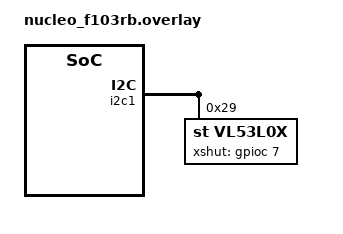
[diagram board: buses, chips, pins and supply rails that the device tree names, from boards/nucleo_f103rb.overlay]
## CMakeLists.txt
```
# SPDX-License-Identifier: Apache-2.0

cmake_minimum_required(VERSION 3.20.0)

find_package(Zephyr)

project(application-10dof)



# Alternatively, use a glob to include all C source files
# FILE(GLOB app_sources src/*.c)
# target_sources(app PRIVATE ${app_sources})
target_sources(app PRIVATE
	src/main.c
)

#zephyr_library_include_directories(.)
#zephyr_include_directories(src)

# add_subdirectory(drivers)

# target_include_directories(${PROJECT_NAME} PRIVATE drivers/IMU/mlx90393/src)
# target_link_directories(${PROJECT_NAME} PRIVATE drivers/IMU/mlx90393/src)
# target_link_libraries(${PROJECT_NAME} mlx90393)
```

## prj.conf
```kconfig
# general
CONFIG_STDOUT_CONSOLE=y

CONFIG_PRINTK=y
CONFIG_CBPRINTF_FP_SUPPORT=y

CONFIG_I2C=y
CONFIG_GPIO=y

# sensors
CONFIG_SENSOR=y
CONFIG_VL53L0X=y
CONFIG_VL53L0X_PROXIMITY_THRESHOLD=100
#CONFIG_MPU6050=y
#CONFIG_MPU6050_TRIGGER_NONE=y

# pwm
#CONFIG_PWM=y

#debug
#CONFIG_DEBUG=y
#CONFIG_LOG=y
#CONFIG_LOG_MODE_IMMEDIATE=y
#CONFIG_SENSOR_LOG_LEVEL_DBG=y
#CONFIG_PWM_LOG_LEVEL_DBG=y
```

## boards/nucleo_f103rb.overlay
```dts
/* SPDX-License-Identifier: Apache-2.0 */

/*/ {
	servo: servo {
		compatible = "pwm-servo";
		pwms = <&sw_pwm 0 PWM_MSEC(20) PWM_POLARITY_NORMAL>;
		min-pulse = <PWM_USEC(700)>;
		max-pulse = <PWM_USEC(2500)>;
	};
    
    pwmleds {
        compatible = "pwm-leds";
        green_pwm_led: green_pwm_led {
            pwms = <&pwm4 2 15625000 PWM_POLARITY_NORMAL>;
        };
    };

    aliases {
        pwmled0 = &green_pwm_led;
    };

};*/


&i2c1 {
	//pinctrl-0 = <&i2c1_scl_remap1_pb8 &i2c1_sda_remap1_pb9>;
	//pinctrl-names = "default";
	//status = "okay";
	//clock-frequency = <I2C_BITRATE_FAST>;
    /*mpu6050@68 {
		compatible = "invensense,mpu6050";
		reg = <0x68>;
		status = "okay";
		label = "MPU6050";
		int-gpios = <&gpiob 8 GPIO_ACTIVE_HIGH>;
	};*/
    

    // https://docs.zephyrproject.org/latest/build/dts/api/bindings/sensor/st%2Cvl53l0x.html#dtbinding-st-vl53l0x
    // https://www.st.com/resource/en/datasheet/vl53l0x.pdf

    // TBC: datasheet specifies 0x52 for the address 
    // TBC: datasheet XSHUT (shutdown pin) is active low
    
    vl53l0x@29 {
    //    vl53l0x0: vl53l0x@52 {
            compatible = "st,vl53l0x";
            reg = <0x29>;
            //reg = <0x52>;
            label = "VL53L0X";
            xshut-gpios = <&gpioc 7 GPIO_ACTIVE_HIGH>;
	};
};
```

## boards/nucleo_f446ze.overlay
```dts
/* SPDX-License-Identifier: Apache-2.0 */

&i2c1 {

    /*mpu6050@68 {
		compatible = "invensense,mpu6050";
		reg = <0x68>;
		status = "okay";
		label = "MPU6050";
		int-gpios = <&gpiob 8 GPIO_ACTIVE_HIGH>;
	};*/
    

    // https://docs.zephyrproject.org/latest/build/dts/api/bindings/sensor/st%2Cvl53l0x.html#dtbinding-st-vl53l0x
    // https://www.st.com/resource/en/datasheet/vl53l0x.pdf

    // TBC: datasheet specifies 0x52 for the address 
    // TBC: datasheet XSHUT (shutdown pin) is active low
    
    vl53l0x@29 {
      compatible = "st,vl53l0x";
      reg = <0x29>;
      label = "VL53L0X";
      xshut-gpios = <&gpioc 7 GPIO_ACTIVE_HIGH>;
    };
      
};
```

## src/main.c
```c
/*
 * SPDX-License-Identifier: Apache-2.0
 */

#include <zephyr/zephyr.h>
#include <zephyr/device.h>
#include <zephyr/drivers/gpio.h>
#include <zephyr/drivers/sensor.h>
#include <stdio.h>
#include <zephyr/sys/printk.h>

#define SLEEP_TIME_MS   200

/* The devicetree node identifier for the "led0" alias. */
#define LED0_NODE DT_ALIAS(led0)

/*
 * A build error on this line means your board is unsupported.
 * See the sample documentation for information on how to fix this.
 */
static const struct gpio_dt_spec led = GPIO_DT_SPEC_GET(LED0_NODE, gpios);

void main(void)
{
	// from sensors samples
	const struct device *dev = device_get_binding(DT_LABEL(DT_INST(0, st_vl53l0x)));
	struct sensor_value value;
	struct sensor_value prox;

	int ret;

	if (dev == NULL) {
		printk("Could not get VL53L0X device\n");
		return;
	}

	if (!device_is_ready(led.port)) {
		return;
	}

	ret = gpio_pin_configure_dt(&led, GPIO_OUTPUT_ACTIVE);
	if (ret < 0) {
		return;
	}

	while (1) {

		// blink LED
		ret = gpio_pin_toggle_dt(&led);
		if (ret < 0) {
			return;
		}

		// read sensor
		ret = sensor_sample_fetch(dev);
		if (ret) {
			printk("sensor_sample_fetch failed ret %d\n", ret);
			return;
		}
		ret = sensor_channel_get(dev, SENSOR_CHAN_PROX, &prox);
		ret = sensor_channel_get(dev, SENSOR_CHAN_DISTANCE, &value);
		printf("%.3f, %d\n", sensor_value_to_double(&value), prox.val1);

		k_msleep(SLEEP_TIME_MS);
	}
}
```
